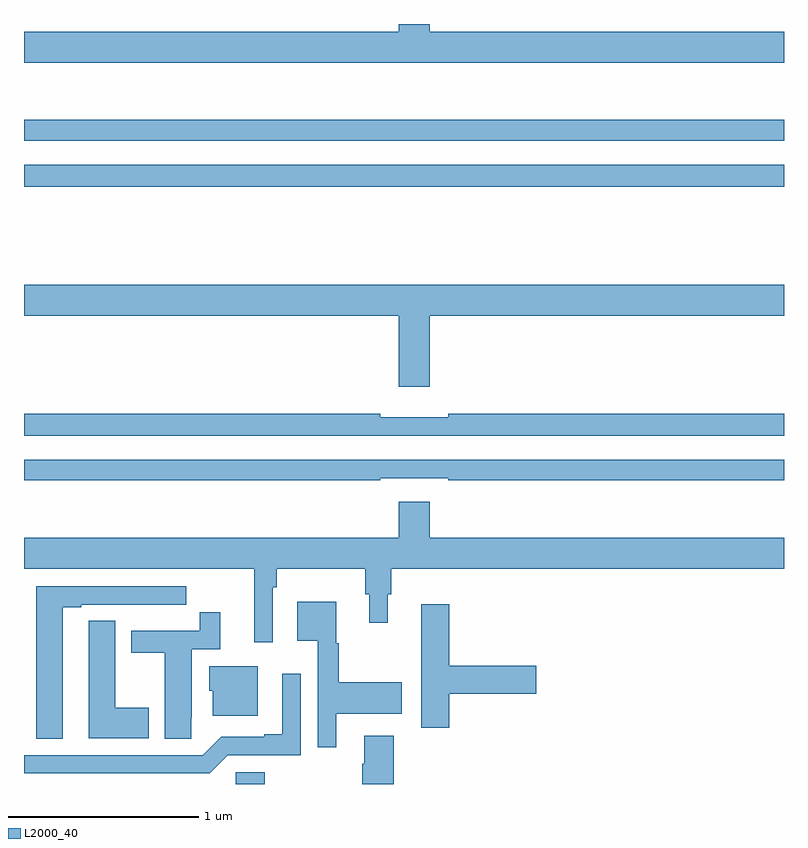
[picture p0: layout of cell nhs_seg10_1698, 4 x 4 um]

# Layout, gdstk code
import gdstk
lib = gdstk.Library(unit=1e-6, precision=1e-09)
def R(c, l, rs):  # rectangles x0, y0, x1, y1
    for r in rs: c.add(gdstk.rectangle(r[:2], r[2:], *l))
def P(c, l, *ps):  # polygons
    for p in ps: c.add(gdstk.Polygon(p, *l))
L2000_40 = (2000, 40)

nhs_seg10_1698 = lib.new_cell('nhs_seg10_1698')
R(nhs_seg10_1698, L2000_40, [(200.115,1316.5,200.267,1316.562), (199,1319.644,203,1319.76), (199,1319.886,203,1319.995)])
P(nhs_seg10_1698, L2000_40, [(203,1320.46),(201.136,1320.46),(201.136,1320.5),(200.972,1320.5),(200.972,1320.46),(199,1320.46),(199,1320.296),(203,1320.296)],
  [(201.136,1318.964),(203,1318.964),(203,1319.128),(199,1319.128),(199,1318.964),(200.972,1318.964),(200.972,1318.59),(201.136,1318.59)],
  [(203,1318.448),(201.232,1318.448),(201.232,1318.429),(200.876,1318.429),(200.876,1318.448),(199,1318.448),(199,1318.332),(203,1318.332)],
  [(200.876,1318.11),(201.232,1318.11),(201.232,1318.098),(203,1318.098),(203,1318.206),(199,1318.206),(199,1318.098),(200.876,1318.098)],
  [(200.31,1317.536),(200.33,1317.536),(200.33,1317.632),(200.797,1317.632),(200.797,1317.498),(200.816,1317.498),(200.816,1317.348),(200.914,1317.348),(200.914,1317.498),(200.933,1317.498),(200.933,1317.632),(203,1317.632),(203,1317.796),(201.136,1317.796),(201.136,1317.985),(200.972,1317.985),(200.972,1317.796),(199,1317.796),(199,1317.632),(200.213,1317.632),(200.213,1317.246),(200.31,1317.246)],
  [(199.204,1317.429),(199.3,1317.429),(199.3,1317.444),(199.576,1317.444),(199.576,1317.443),(199.742,1317.443),(199.742,1317.444),(199.855,1317.444),(199.855,1317.54),(199.064,1317.54),(199.064,1316.737),(199.204,1316.737)],
  [(200.644,1316.87),(200.989,1316.87),(200.989,1317.036),(200.656,1317.036),(200.656,1317.24),(200.644,1317.24),(200.644,1317.46),(200.438,1317.46),(200.438,1317.254),(200.547,1317.254),(200.547,1316.694),(200.644,1316.694)],
  [(201.239,1316.975),(201.697,1316.975),(201.697,1317.122),(201.239,1317.122),(201.239,1317.445),(201.092,1317.445),(201.092,1316.796),(201.239,1316.796)],
  [(199.881,1316.848),(199.882,1316.848),(199.882,1317.21),(200.033,1317.21),(200.033,1317.403),(199.924,1317.403),(199.924,1317.306),(199.565,1317.306),(199.565,1317.19),(199.742,1317.19),(199.742,1316.737),(199.881,1316.737)],
  [(199.657,1316.901),(199.48,1316.901),(199.48,1317.359),(199.341,1317.359),(199.341,1317.251),(199.34,1317.251),(199.34,1316.741),(199.657,1316.741)],
  [(200.23,1317.121),(199.976,1317.121),(199.976,1316.991),(199.994,1316.991),(199.994,1316.858),(200.23,1316.858)],
  [(200.073,1316.652),(200.457,1316.652),(200.457,1317.079),(200.36,1317.079),(200.36,1316.761),(200.264,1316.761),(200.264,1316.748),(200.037,1316.748),(199.941,1316.652),(199,1316.652),(199,1316.556),(199.977,1316.556)],
  [(200.945,1316.755),(200.792,1316.755),(200.792,1316.606),(200.78,1316.606),(200.78,1316.5),(200.945,1316.5)])

lib.write_gds('nhs_seg10_1698.gds')
